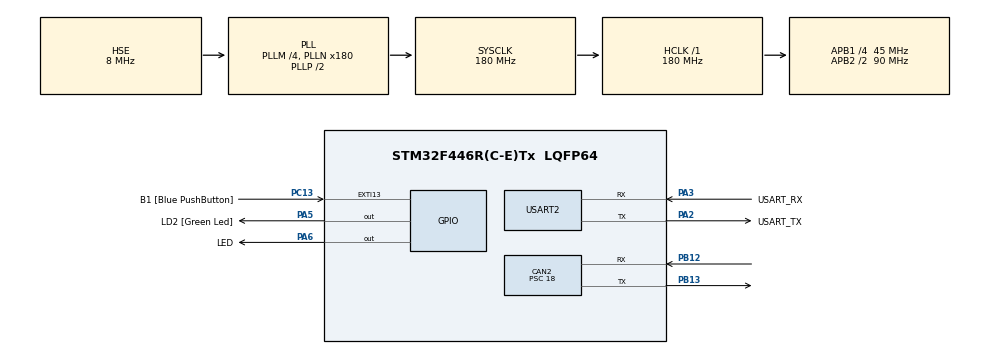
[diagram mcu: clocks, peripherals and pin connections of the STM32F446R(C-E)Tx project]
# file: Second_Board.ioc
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CAN2.BS1=CAN_BS1_2TQ
CAN2.BS2=CAN_BS2_2TQ
CAN2.CalculateBaudRate=500000
CAN2.CalculateTimeBit=2000
CAN2.CalculateTimeQuantum=400.0
CAN2.Prescaler=18
Mcu.Family=STM32F4
Mcu.Name=STM32F446R(C-E)Tx
Mcu.Package=LQFP64
NVIC.CAN2_RX1_IRQn=true\:0\:0\:false\:false\:true\:true\:true\:true
NVIC.PriorityGroup=NVIC_PRIORITYGROUP_0
PA13.GPIO_Label=TMS
PA13.Mode=Serial_Wire
PA13.Signal=SYS_JTMS-SWDIO
PA14.GPIO_Label=TCK
PA14.Mode=Serial_Wire
PA14.Signal=SYS_JTCK-SWCLK
PA2.GPIO_Label=USART_TX
PA2.Mode=Asynchronous
PA2.Signal=USART2_TX
PA3.GPIO_Label=USART_RX
PA3.Mode=Asynchronous
PA3.Signal=USART2_RX
PA5.GPIO_Label=LD2 [Green Led]
PA5.Signal=GPIO_Output
PA6.GPIO_Label=LED
PA6.Signal=GPIO_Output
PB12.Mode=CAN_Activate
PB12.Signal=CAN2_RX
PB13.Mode=CAN_Activate
PB13.Signal=CAN2_TX
PB3.GPIO_Label=SWO
PB3.Signal=SYS_JTDO-SWO
PC13.GPIO_Label=B1 [Blue PushButton]
PC13.GPIO_ModeDefaultEXTI=GPIO_MODE_IT_FALLING
PC13.Signal=GPXTI13
PC14-OSC32_IN.Mode=LSE-External-Oscillator
PC14-OSC32_IN.Signal=RCC_OSC32_IN
PC15-OSC32_OUT.Mode=LSE-External-Oscillator
PC15-OSC32_OUT.Signal=RCC_OSC32_OUT
PH0-OSC_IN.Mode=HSE-External-Oscillator
PH0-OSC_IN.Signal=RCC_OSC_IN
PH1-OSC_OUT.Mode=HSE-External-Oscillator
PH1-OSC_OUT.Signal=RCC_OSC_OUT
ProjectManager.HeapSize=0x200
ProjectManager.StackSize=0x400
ProjectManager.TargetToolchain=CMake
RCC.48MHZClocksFreq_Value=84000000
RCC.AHBFreq_Value=180000000
RCC.APB1CLKDivider=RCC_HCLK_DIV4
RCC.APB1Freq_Value=45000000
RCC.APB1TimFreq_Value=90000000
RCC.APB2CLKDivider=RCC_HCLK_DIV2
RCC.APB2Freq_Value=90000000
RCC.APB2TimFreq_Value=180000000
RCC.CortexFreq_Value=180000000
RCC.FLatency-AdvancedSettings=FLASH_LATENCY_5
RCC.HCLKFreq_Value=180000000
RCC.HSE_VALUE=8000000
RCC.HSI_VALUE=16000000
RCC.PLLM=4
RCC.PLLN=180
RCC.PLLSourceVirtual=RCC_PLLSOURCE_HSE
RCC.SYSCLKFreq_VALUE=180000000
RCC.SYSCLKSource=RCC_SYSCLKSOURCE_PLLCLK
RCC.USBFreq_Value=180000000
RCC.VCOOutputFreq_Value=360000000
USART2.VirtualMode=VM_ASYNC
board=NUCLEO-F446RE

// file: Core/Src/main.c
/* USER CODE BEGIN Header */
/**
  ******************************************************************************
  * @file           : main.c
  * @brief          : Main program body
  ******************************************************************************
  * @attention
  *
  * Copyright (c) 2026 STMicroelectronics.
  * All rights reserved.
  *
  * This software is licensed under terms that can be found in the LICENSE file
  * in the root directory of this software component.
  * If no LICENSE file comes with this software, it is provided AS-IS.
  *
  ******************************************************************************
  */
/* USER CODE END Header */
#include "main.h"

/* USER CODE BEGIN Includes */
#include "can_protocol.h"
#include "logger.h"
/* USER CODE END Includes */

CAN_HandleTypeDef hcan2;

UART_HandleTypeDef huart2;

void SystemClock_Config(void);
static void MX_GPIO_Init(void);
static void MX_USART2_UART_Init(void);
static void MX_CAN2_Init(void);

/* USER CODE BEGIN 0 */
CAN_TxHeaderTypeDef TxHeader;
CAN_RxHeaderTypeDef RxHeader;

uint32_t TxMailbox;

uint8_t TxData[8];
uint8_t RxData[8];

volatile int datacheck = 0;

volatile uint32_t error_count = 0;

volatile uint32_t last_rx_tick = 0;

log_type log_level = LOG_TYPE_INFO;
uint8_t timeout_active = 0;

void HAL_CAN_RxFifo1MsgPendingCallback(CAN_HandleTypeDef *hcan)
{
  HAL_CAN_GetRxMessage(&hcan2, CAN_RX_FIFO1, &RxHeader, RxData);
  if(RxHeader.DLC == CAN_DLC_CONTROL){
    datacheck = 1;
    last_rx_tick = HAL_GetTick();
  }
}
/* USER CODE END 0 */

int main(void)
{

  /* MCU Configuration--------------------------------------------------------*/

  /* Reset of all peripherals, Initializes the Flash interface and the Systick. */
  HAL_Init();

  /* Configure the system clock */
  SystemClock_Config();

  /* Initialize all configured peripherals */
  MX_GPIO_Init();
  MX_USART2_UART_Init();
  MX_CAN2_Init();
  /* USER CODE BEGIN 2 */
  logger_init(&huart2);
  HAL_GPIO_WritePin(LD2_GPIO_Port,LD2_Pin,GPIO_PIN_RESET);
  last_rx_tick = HAL_GetTick();

  HAL_CAN_Stop(&hcan2);
  HAL_CAN_ResetError(&hcan2);

  if (HAL_CAN_Start(&hcan2) != HAL_OK) {
      Error_Handler();
  }
  HAL_CAN_ActivateNotification(&hcan2, CAN_IT_RX_FIFO1_MSG_PENDING);

  TxHeader.DLC = CAN_DLC_CONTROL;
  TxHeader.IDE = CAN_ID_STD;
  TxHeader.RTR = CAN_RTR_DATA;
  TxHeader.StdId = CAN_ID_SLAVE_TO_MASTER;

  /* USER CODE END 2 */

  /* Infinite loop */
  /* USER CODE BEGIN WHILE */
  while (1)
  {
    if (HAL_GetTick() - last_rx_tick > CAN_TIMEOUT_MS){
      log_level = LOG_TYPE_WARN;
      TxData[CAN_IDX_TIMEOUT_FLAG] = 1;
      HAL_GPIO_WritePin(LED_GPIO_Port, LED_Pin, GPIO_PIN_RESET);
    } else {
      log_level = LOG_TYPE_INFO;
      TxData[CAN_IDX_TIMEOUT_FLAG] = 0;
    }

    if(HAL_CAN_AddTxMessage(&hcan2, &TxHeader, TxData, &TxMailbox) != HAL_OK){
      error_count++;
    }

    uint8_t brightness = RxData[CAN_IDX_LIGHT_LEVEL];
    if (brightness < 50) {
      HAL_GPIO_WritePin(LED_GPIO_Port, LED_Pin, GPIO_PIN_SET);
    }
    else {
      HAL_GPIO_WritePin(LED_GPIO_Port, LED_Pin, GPIO_PIN_RESET);
    }

    if ((HAL_GetTick() - last_rx_tick > CAN_TIMEOUT_MS) && (timeout_active == 0)) {
      logger_log(LOG_TYPE_WARN, "CAN timeout\r\n");
      timeout_active = 1;
    } else if ((HAL_GetTick() - last_rx_tick <= CAN_TIMEOUT_MS) && (timeout_active == 1)) {
      logger_log(LOG_TYPE_INFO, "CAN recovered\r\n");
      timeout_active = 0;
    }

    logger_log(log_level, "LIGHT = %u\r\n", (unsigned int)RxData[CAN_IDX_LIGHT_LEVEL]);

    HAL_Delay(100);
  }
    /* USER CODE END WHILE */

  }

void SystemClock_Config(void)
{
  RCC_OscInitTypeDef RCC_OscInitStruct = {0};
  RCC_ClkInitTypeDef RCC_ClkInitStruct = {0};

  /** Configure the main internal regulator output voltage
  */
  __HAL_RCC_PWR_CLK_ENABLE();
  __HAL_PWR_VOLTAGESCALING_CONFIG(PWR_REGULATOR_VOLTAGE_SCALE1);

  /** Initializes the RCC Oscillators according to the specified parameters
  * in the RCC_OscInitTypeDef structure.
  */
  RCC_OscInitStruct.OscillatorType = RCC_OSCILLATORTYPE_HSE;
  RCC_OscInitStruct.HSEState = RCC_HSE_ON;
  RCC_OscInitStruct.PLL.PLLState = RCC_PLL_ON;
  RCC_OscInitStruct.PLL.PLLSource = RCC_PLLSOURCE_HSE;
  RCC_OscInitStruct.PLL.PLLM = 4;
  RCC_OscInitStruct.PLL.PLLN = 180;
  RCC_OscInitStruct.PLL.PLLP = RCC_PLLP_DIV2;
  RCC_OscInitStruct.PLL.PLLQ = 2;
  RCC_OscInitStruct.PLL.PLLR = 2;
  if (HAL_RCC_OscConfig(&RCC_OscInitStruct) != HAL_OK)
  {
    Error_Handler();
  }

  /** Activate the Over-Drive mode
  */
  if (HAL_PWREx_EnableOverDrive() != HAL_OK)
  {
    Error_Handler();
  }

  /** Initializes the CPU, AHB and APB buses clocks
  */
  RCC_ClkInitStruct.ClockType = RCC_CLOCKTYPE_HCLK|RCC_CLOCKTYPE_SYSCLK
                              |RCC_CLOCKTYPE_PCLK1|RCC_CLOCKTYPE_PCLK2;
  RCC_ClkInitStruct.SYSCLKSource = RCC_SYSCLKSOURCE_PLLCLK;
  RCC_ClkInitStruct.AHBCLKDivider = RCC_SYSCLK_DIV1;
  RCC_ClkInitStruct.APB1CLKDivider = RCC_HCLK_DIV4;
  RCC_ClkInitStruct.APB2CLKDivider = RCC_HCLK_DIV2;

  if (HAL_RCC_ClockConfig(&RCC_ClkInitStruct, FLASH_LATENCY_5) != HAL_OK)
  {
    Error_Handler();
  }
}

static void MX_CAN2_Init(void)
{

  hcan2.Instance = CAN2;
  hcan2.Init.Prescaler = 18;
  hcan2.Init.Mode = CAN_MODE_NORMAL;
  hcan2.Init.SyncJumpWidth = CAN_SJW_1TQ;
  hcan2.Init.TimeSeg1 = CAN_BS1_2TQ;
  hcan2.Init.TimeSeg2 = CAN_BS2_2TQ;
  hcan2.Init.TimeTriggeredMode = DISABLE;
  hcan2.Init.AutoBusOff = DISABLE;
  hcan2.Init.AutoWakeUp = DISABLE;
  hcan2.Init.AutoRetransmission = DISABLE;
  hcan2.Init.ReceiveFifoLocked = DISABLE;
  hcan2.Init.TransmitFifoPriority = DISABLE;
  if (HAL_CAN_Init(&hcan2) != HAL_OK)
  {
    Error_Handler();
  }
  /* USER CODE BEGIN CAN2_Init 2 */
  CAN_FilterTypeDef canfilterconfig;

  canfilterconfig.FilterActivation = CAN_FILTER_ENABLE;
  canfilterconfig.FilterBank = 14;
  canfilterconfig.FilterFIFOAssignment = CAN_RX_FIFO1;
  canfilterconfig.FilterIdHigh = 0x446<<5;
  canfilterconfig.FilterIdLow = 0x0000;
  canfilterconfig.FilterMaskIdHigh = 0x446<<5;
  canfilterconfig.FilterMaskIdLow = 0x0000;
  canfilterconfig.FilterMode = CAN_FILTERMODE_IDMASK;
  canfilterconfig.FilterScale = CAN_FILTERSCALE_32BIT;
  canfilterconfig.SlaveStartFilterBank = 14;

  if (HAL_CAN_ConfigFilter(&hcan2, &canfilterconfig) != HAL_OK)
  {
    Error_Handler();
  }
  /* USER CODE END CAN2_Init 2 */

}

static void MX_USART2_UART_Init(void)
{

  huart2.Instance = USART2;
  huart2.Init.BaudRate = 115200;
  huart2.Init.WordLength = UART_WORDLENGTH_8B;
  huart2.Init.StopBits = UART_STOPBITS_1;
  huart2.Init.Parity = UART_PARITY_NONE;
  huart2.Init.Mode = UART_MODE_TX_RX;
  huart2.Init.HwFlowCtl = UART_HWCONTROL_NONE;
  huart2.Init.OverSampling = UART_OVERSAMPLING_16;
  if (HAL_UART_Init(&huart2) != HAL_OK)
  {
    Error_Handler();
  }

}

static void MX_GPIO_Init(void)
{
  GPIO_InitTypeDef GPIO_InitStruct = {0};

  /* GPIO Ports Clock Enable */
  __HAL_RCC_GPIOC_CLK_ENABLE();
  __HAL_RCC_GPIOH_CLK_ENABLE();
  __HAL_RCC_GPIOA_CLK_ENABLE();
  __HAL_RCC_GPIOB_CLK_ENABLE();

  /*Configure GPIO pin Output Level */
  HAL_GPIO_WritePin(GPIOA, LD2_Pin|LED_Pin, GPIO_PIN_RESET);

  /*Configure GPIO pin : B1_Pin */
  GPIO_InitStruct.Pin = B1_Pin;
  GPIO_InitStruct.Mode = GPIO_MODE_IT_FALLING;
  GPIO_InitStruct.Pull = GPIO_NOPULL;
  HAL_GPIO_Init(B1_GPIO_Port, &GPIO_InitStruct);

  /*Configure GPIO pins : LD2_Pin LED_Pin */
  GPIO_InitStruct.Pin = LD2_Pin|LED_Pin;
  GPIO_InitStruct.Mode = GPIO_MODE_OUTPUT_PP;
  GPIO_InitStruct.Pull = GPIO_NOPULL;
  GPIO_InitStruct.Speed = GPIO_SPEED_FREQ_LOW;
  HAL_GPIO_Init(GPIOA, &GPIO_InitStruct);

}

void Error_Handler(void)
{
  __disable_irq();
  while (1)
  {
  }
}
